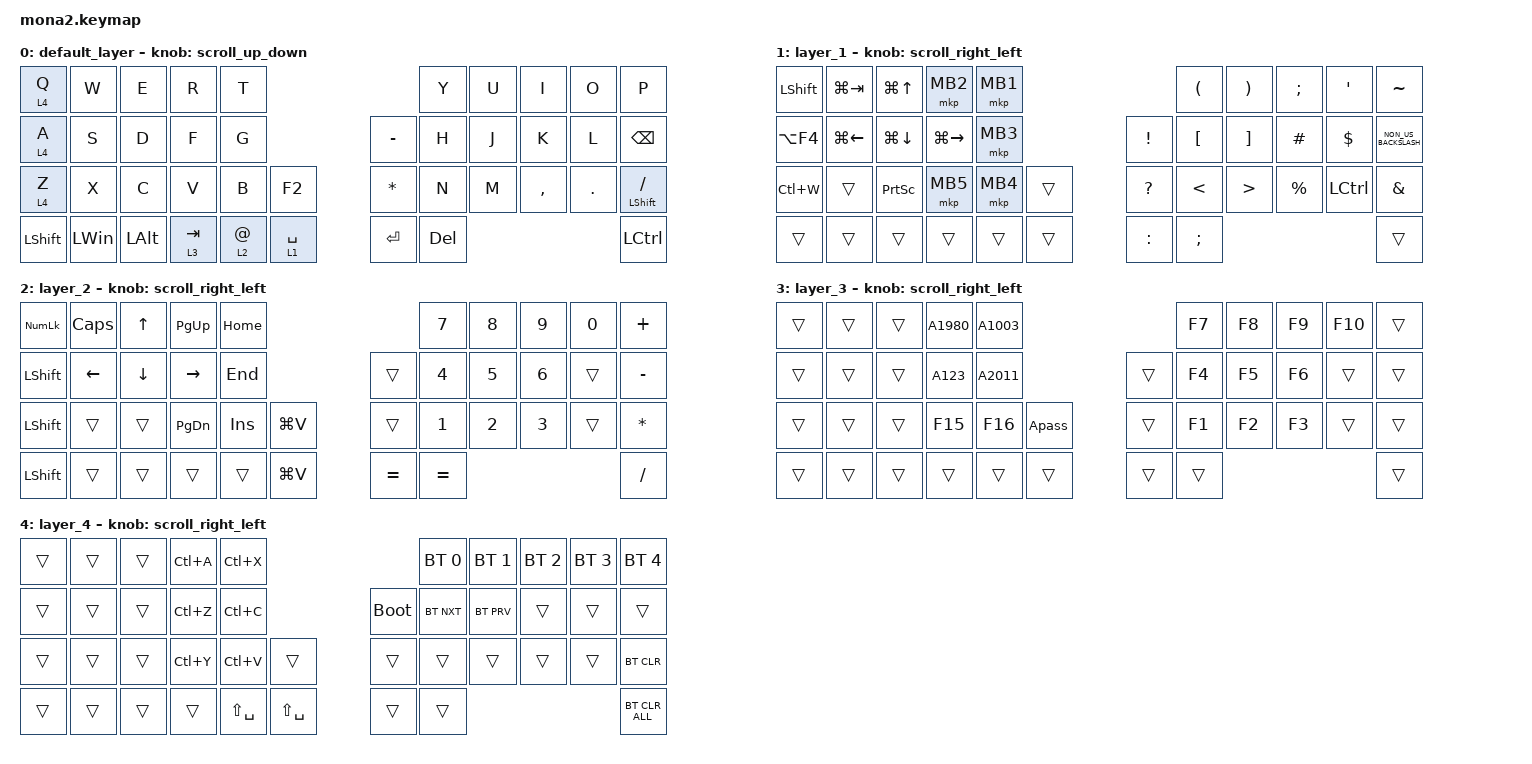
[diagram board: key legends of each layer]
#include <input/processors.dtsi>
#include <dt-bindings/zmk/input_transform.h>
#include <zephyr/dt-bindings/input/input-event-codes.h>
#include <behaviors.dtsi>
#include <dt-bindings/zmk/bt.h>
#include <dt-bindings/zmk/keys.h>
#include <dt-bindings/zmk/pointing.h>

#define ZMK_POINTING_DEFAULT_SCRL_VAL 100
#define MOUSE 5
#define SCROLL 6

&mt {
    flavor = "balanced";
    quick-tap-ms = <0>;
};

&lt {
    quick-tap-ms = <300>;
    flavor = "balanced";
};

/ {
    combos {
        compatible = "zmk,combos";

        Henkan {
            bindings = <&kp LS(SPACE)>;
            key-positions = <38 37>;
        };

        A_alt {
            bindings = <&kp LEFT_ALT>;
            key-positions = <37 36>;
        };
    };

    macros {
        A1980: A_1980 {
            compatible = "zmk,behavior-macro";
            #binding-cells = <0>;
            bindings = <&kp N1 &kp N9 &kp N8 &kp N0 &kp N1 &kp N4 &kp N4 &kp N5>;
            label = "A_1980";
        };

        A1003: A_1003 {
            compatible = "zmk,behavior-macro";
            #binding-cells = <0>;
            bindings = <&kp N1 &kp N0 &kp N0 &kp N3 &kp N2 &kp N5 &kp N3 &kp N0>;
            label = "A_1003";
        };

        A123: A_123 {
            compatible = "zmk,behavior-macro";
            #binding-cells = <0>;
            bindings = <&kp N1 &kp N2 &kp N3 &kp N0 &kp N9 &kp N8 &kp Q &kp W &kp E &kp LS(P) &kp LS(O) &kp LS(I) &kp N0 &kp N7 &kp ENTER>;
            label = "A_123";
        };

        A2011: A_2011 {
            compatible = "zmk,behavior-macro";
            #binding-cells = <0>;
            bindings = <&kp N2 &kp N0 &kp N1 &kp N1 &kp AT &kp F &kp U &kp J &kp I &kp F &kp I &kp L &kp M &kp ENTER>;
            label = "A_2011";
        };

        Apass: Apass {
            compatible = "zmk,behavior-macro";
            #binding-cells = <0>;
            bindings = <&kp N1 &kp N2 &kp N3 &kp Q &kp W &kp E &kp LS(A) &kp LS(S) &kp LS(D) &kp LS(Z) &kp LS(X) &kp LS(C)>;
            label = "APASS";
        };
    };

    behaviors {
        scroll_up_down: mouse_wheel_up_down {
            compatible = "zmk,behavior-sensor-rotate";
            #sensor-binding-cells = <0>;
            bindings = <&msc SCRL_DOWN>, <&msc SCRL_UP>;

            tap-ms = <20>;
        };

        scroll_right_left: mouse_wheel_right_left {
            compatible = "zmk,behavior-sensor-rotate";
            #sensor-binding-cells = <0>;
            bindings = <&msc SCRL_LEFT>, <&msc SCRL_RIGHT>;

            tap-ms = <20>;
        };
    };

    keymap {
        compatible = "zmk,keymap";

        default_layer {
            bindings = <
&lt 4 Q         &kp W         &kp E         &kp R      &kp T                                    &kp Y    &kp U  &kp I      &kp O    &kp P
&lt 4 A         &kp S         &kp D         &kp F      &kp G                         &kp MINUS  &kp H    &kp J  &kp K      &kp L    &kp BACKSPACE
&lt 4 Z         &kp X         &kp C         &kp V      &kp B          &kp F2         &kp ASTRK  &kp N    &kp M  &kp COMMA  &kp DOT  &mt LEFT_SHIFT SLASH
&kp LEFT_SHIFT  &kp LEFT_WIN  &kp LEFT_ALT  &lt 3 TAB  &lt 2 AT_SIGN  &lt 1 SPACE    &kp ENTER  &kp DEL                             &kp LCTRL
            >;

            sensor-bindings = <&scroll_up_down>;
        };

        layer_1 {
            bindings = <
&kp LEFT_SHIFT  &kp LG(TAB)   &kp LG(UP_ARROW)  &mkp MB2       &mkp MB1                             &kp LEFT_PARENTHESIS  &kp RIGHT_PARENTHESIS  &kp SEMICOLON  &kp SQT     &kp TILDE
&kp LA(F4)      &kp LG(LEFT)  &kp LG(DOWN)      &kp LG(RIGHT)  &mkp MB3            &kp EXCLAMATION  &kp LEFT_BRACKET      &kp RIGHT_BRACKET      &kp HASH       &kp DOLLAR  &kp NON_US_BACKSLASH
&kp LC(W)       &trans        &kp PRINTSCREEN   &mkp MB5       &mkp MB4  &trans    &kp QUESTION     &kp LESS_THAN         &kp GREATER_THAN       &kp PERCENT    &kp LCTRL   &kp AMPERSAND
&trans          &trans        &trans            &trans         &trans    &trans    &kp COLON        &kp SEMICOLON                                                           &trans
            >;

            sensor-bindings = <&scroll_right_left>;
        };

        layer_2 {
            bindings = <
&kp KP_NUMLOCK  &kp CAPSLOCK    &kp UP_ARROW    &kp PAGE_UP      &kp HOME                            &kp N7        &kp N8        &kp N9        &kp NUMBER_0  &kp PLUS
&kp LEFT_SHIFT  &kp LEFT_ARROW  &kp DOWN_ARROW  &kp RIGHT_ARROW  &kp END                  &trans     &kp NUMBER_4  &kp NUMBER_5  &kp NUMBER_6  &trans        &kp MINUS
&kp LEFT_SHIFT  &trans          &trans          &kp PAGE_DOWN    &kp INSERT  &kp LG(V)    &trans     &kp NUMBER_1  &kp NUMBER_2  &kp NUMBER_3  &trans        &kp ASTRK
&kp LEFT_SHIFT  &trans          &trans          &trans           &trans      &kp LG(V)    &kp EQUAL  &kp EQUAL                                               &kp SLASH
            >;

            sensor-bindings = <&scroll_right_left>;
        };

        layer_3 {
            bindings = <
&trans  &trans  &trans  &A1980   &A1003                     &kp F7  &kp F8  &kp F9  &kp F10  &trans
&trans  &trans  &trans  &A123    &A2011             &trans  &kp F4  &kp F5  &kp F6  &trans   &trans
&trans  &trans  &trans  &kp F15  &kp F16  &Apass    &trans  &kp F1  &kp F2  &kp F3  &trans   &trans
&trans  &trans  &trans  &trans   &trans   &trans    &trans  &trans                           &trans
            >;

            sensor-bindings = <&scroll_right_left>;
        };

        layer_4 {
            bindings = <
&trans  &trans  &trans  &kp LC(A)  &kp LC(X)                                    &bt BT_SEL 0  &bt BT_SEL 1  &bt BT_SEL 2  &bt BT_SEL 3  &bt BT_SEL 4
&trans  &trans  &trans  &kp LC(Z)  &kp LC(C)                       &bootloader  &bt BT_NXT    &bt BT_PRV    &trans        &trans        &trans
&trans  &trans  &trans  &kp LC(Y)  &kp LC(V)      &trans           &trans       &trans        &trans        &trans        &trans        &bt BT_CLR
&trans  &trans  &trans  &trans     &kp LS(SPACE)  &kp LS(SPACE)    &trans       &trans                                                  &bt BT_CLR_ALL
            >;

            sensor-bindings = <&scroll_right_left>;
        };
    };
};
